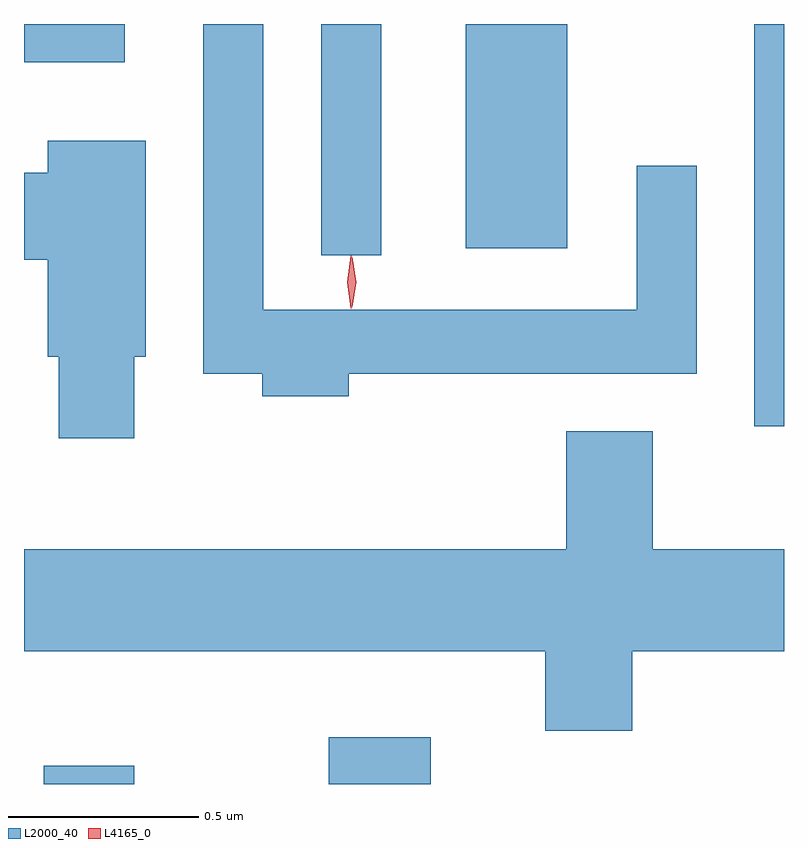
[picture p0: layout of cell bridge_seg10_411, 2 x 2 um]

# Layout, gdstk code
import gdstk
lib = gdstk.Library(unit=1e-6, precision=1e-09)
def R(c, l, rs):  # rectangles x0, y0, x1, y1
    for r in rs: c.add(gdstk.rectangle(r[:2], r[2:], *l))
def P(c, l, *ps):  # polygons
    for p in ps: c.add(gdstk.Polygon(p, *l))
L2000_40 = (2000, 40)
L4165_0 = (4165, 0)

bridge_seg10_411 = lib.new_cell('bridge_seg10_411')
R(bridge_seg10_411, L2000_40, [(1370.766,2142.426,1371.004,2142.474), (1371.516,2142.426,1371.784,2142.549), (1372.636,2143.368,1372.714,2144.426), (1371.496,2143.818,1371.654,2144.426), (1371.876,2143.836,1372.144,2144.426), (1370.714,2144.326,1370.979,2144.426)])
P(bridge_seg10_411, L2000_40, [(1371.569,2143.506),(1372.484,2143.506),(1372.484,2144.053),(1372.326,2144.053),(1372.326,2143.674),(1371.344,2143.674),(1371.344,2144.426),(1371.186,2144.426),(1371.186,2143.506),(1371.341,2143.506),(1371.341,2143.446),(1371.569,2143.446)],
  [(1371.004,2143.551),(1371.034,2143.551),(1371.034,2144.119),(1370.776,2144.119),(1370.776,2144.034),(1370.714,2144.034),(1370.714,2143.806),(1370.776,2143.806),(1370.776,2143.551),(1370.806,2143.551),(1370.806,2143.336),(1371.004,2143.336)],
  [(1372.314,2142.776),(1372.714,2142.776),(1372.714,2143.044),(1372.369,2143.044),(1372.369,2143.354),(1372.141,2143.354),(1372.141,2143.044),(1370.714,2143.044),(1370.714,2142.776),(1372.086,2142.776),(1372.086,2142.566),(1372.314,2142.566)])
P(bridge_seg10_411, L4165_0, [(1371.575,2143.677),(1371.574,2143.678),(1371.565,2143.747),(1371.574,2143.816),(1371.575,2143.816),(1371.575,2143.816),(1371.585,2143.747),(1371.575,2143.678)],
  [(1371.578,2143.68),(1371.578,2143.68),(1371.568,2143.746),(1371.578,2143.813),(1371.578,2143.813),(1371.578,2143.813),(1371.588,2143.746),(1371.578,2143.68)])

lib.write_gds('bridge_seg10_411.gds')
